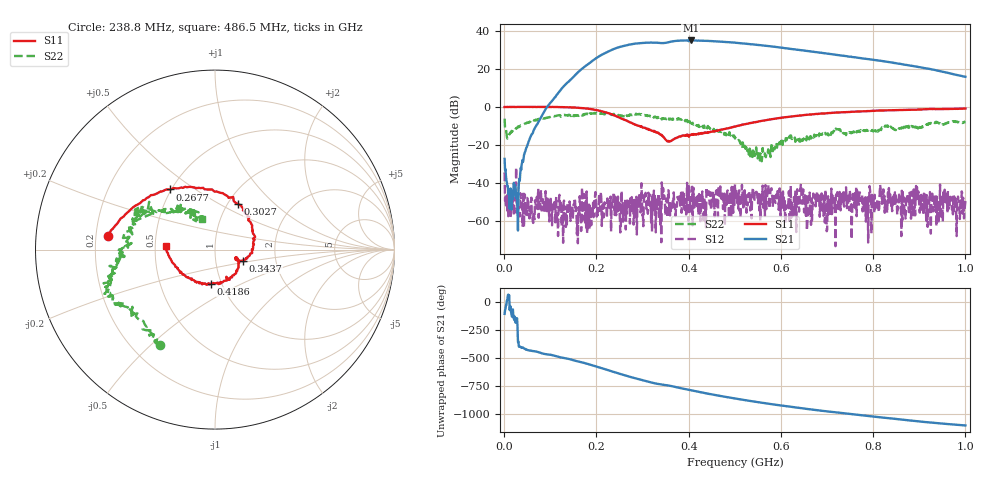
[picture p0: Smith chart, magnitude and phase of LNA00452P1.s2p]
! Created with skrf 1.9.0 (http://scikit-rf.org).
# Hz S RI R 50.0
!freq ReS11 ImS11 ReS21 ImS21 ReS12 ImS12 ReS22 ImS22
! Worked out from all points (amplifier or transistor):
!   1001 points, 1 MHz to 1 GHz, reference 50 ohm
!   highest |S21| = 34.9 dB at 404.6 MHz (marker M1)
!   |S21| within 3 dB of that: 257.3 MHz to 574.1 MHz (316.9 MHz wide, 76.2 % of centre) (the widest 1 of 2)
!   unconditionally stable (mu >= 1): 4.518 MHz to 67 MHz; 396.7 MHz to 945 MHz; 945.1 MHz to end of sweep (the widest 3 of 38)
!   at 166.8 MHz: K = 6.91, MAG = 31.1 dB, |S12| = -65.3 dB
!   at 500.5 MHz: K = 1.18, MAG = 34.7 dB, |S12| = -40.7 dB
!   at 1 GHz: K = 3.66, MAG = 24.1 dB, |S12| = -49.4 dB
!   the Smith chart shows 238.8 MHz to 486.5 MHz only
!   S11 on the Smith chart (normalised r, x): 238.8 MHz: 0.25, +0.06; 267.7 MHz: 0.49, +0.40; 302.7 MHz: 1.11, +0.61; 343.7 MHz: 1.36, -0.17; 418.6 MHz: 0.89, -0.35; 486.5 MHz: 0.57, +0.02
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1000000  0.9924 0.00932  -0.0118 -0.0413  -0.0142 0.0125  0.3606 0.3303
1.08892e8  0.53 -0.8411  -0.806 -1.521  -0.00299 0.00087  0.426 -0.3758
1.67833e8  -0.216 -0.9052  -9.845 -0.6065  0.000224 -0.000711  0.0296 -0.6292
2.08792e8  -0.6638 -0.4215  -15.81 15.95  -0.000307 0.00308  -0.2298 -0.6517
2.38762e8  -0.5969 0.0777  -3.363 33.46  -0.00311 -0.00137  -0.3086 -0.5342
2.67733e8  -0.251 0.3354  21.04 36.86  0.00183 -0.00179  -0.4875 -0.319
3.02698e8  0.127 0.2542  44.95 17.04  -0.00281 0.000913  -0.5953 -0.1776
3.34666e8  0.2072 -0.0199  47.6 -8.787  0.000425 0.00531  -0.5138 -0.0157
3.43657e8  0.157 -0.0611  45.82 -13.31  0.000109 0.00373  -0.5018 0.0188
3.71629e8  0.1317 -0.0715  43.48 -32.31  0.000984 0.000944  -0.4242 0.1987
4.04596e8  0.0469 -0.1771  22.54 -51.15  0.000761 0.00288  -0.3101 0.2109
4.18582e8  -0.0225 -0.1897  11.76 -53.98  0.00208 0.00125  -0.2468 0.2105
4.49551e8  -0.168 -0.145  -11.28 -52.51  0.0021 0.00122  -0.1371 0.2249
4.86514e8  -0.2744 0.0198  -31.65 -39.25  0.00312 -0.000689  -0.0723 0.168
5.005e8  -0.2896 0.0997  -36.97 -32.33  0.00924 -0.000364  -0.0638 0.1329
5.32468e8  -0.2577 0.2719  -42.25 -15.31  0.006 0.00037  -0.0377 0.0702
5.64436e8  -0.1574 0.4104  -40.85 0.1463  0.00394 -0.00147  -0.0515 0.00602
6.11389e8  0.054 0.5356  -30.81 15.96  0.00203 -0.00137  -0.1308 -0.0663
6.67333e8  0.3278 0.5429  -15.27 23.82  0.000841 0.000596  -0.1602 -0.0455
7.53247e8  0.6407 0.3737  2.942 20.42  -0.000324 -5.19e-05  -0.2144 -0.00557
8.34166e8  0.7978 0.1352  10.49 10.82  -0.00645 -0.00352  -0.2997 -0.0361
1e9  0.8081 -0.4002  5.856 -1.993  0.00106 0.0032  -0.3463 0.1976
